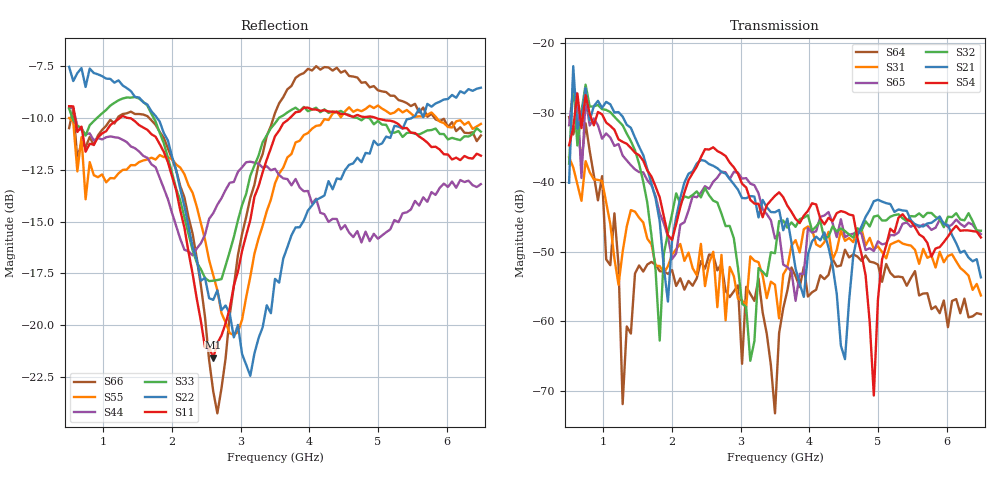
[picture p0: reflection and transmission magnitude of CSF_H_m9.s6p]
!Keysight Technologies,M9804A,MY58100912,A.14.10.03
!Date: Thursday, April 27, 2023 10:28:33
!Correction: S11(C  6-Port  )
!S12(C  6-Port  )
!S13(C  6-Port  )
!S14(C  6-Port  )
!S15(C  6-Port  )
!S16(C  6-Port  )
!S21(C  6-Port  )
!S22(C  6-Port  )
!S23(C  6-Port  )
!S24(C  6-Port  )
!S25(C  6-Port  )
!S26(C  6-Port  )
!S31(C  6-Port  )
!S32(C  6-Port  )
!S33(C  6-Port  )
!S34(C  6-Port  )
!S35(C  6-Port  )
!S36(C  6-Port  )
!S41(C  6-Port  )
!S42(C  6-Port  )
!S43(C  6-Port  )
!S44(C  6-Port  )
!S45(C  6-Port  )
!S46(C  6-Port  )
!S51(C  6-Port  )
!S52(C  6-Port  )
!S53(C  6-Port  )
!S54(C  6-Port  )
!S55(C  6-Port  )
!S56(C  6-Port  )
!S61(C  6-Port  )
!S62(C  6-Port  )
!S63(C  6-Port  )
!S64(C  6-Port  )
!S65(C  6-Port  )
!S66(C  6-Port  )
!S6P File: Measurement: :
# Hz S  RI  R 50
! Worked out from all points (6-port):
!   101 points, 500 MHz to 6.5 GHz, reference 50 ohm
!   strongest paths, dB at 500 MHz, 2 GHz, 3.5 GHz, 5 GHz, 6.5 GHz:
!     S54: -34.7, -48.3, -41.9, -56.8, -47.9
!     S21: -40.1, -48.3, -44.3, -42.5, -53.7
!     S32: -37.3, -44.5, -50.2, -44.8, -46.9
!     S65: -31.8, -51.0, -48.1, -48.5, -47.4
!     S31: -36.4, -50.4, -54.7, -49.2, -56.3
!     S64: -30.6, -52.6, -73.2, -51.8, -59.0
!   lowest |S11| = -21.6 dB at 2.6 GHz (marker M1), VSWR 1.18, Z = 42.6 + j2.04 ohm
!   |S11| at or under -10 dB: 587.7 MHz to 1.237 GHz (649.5 MHz wide, 71.2 % of centre); 1.382 GHz to 3.714 GHz (2.332 GHz wide, 91.5 % of centre); 4.978 GHz to end of sweep
